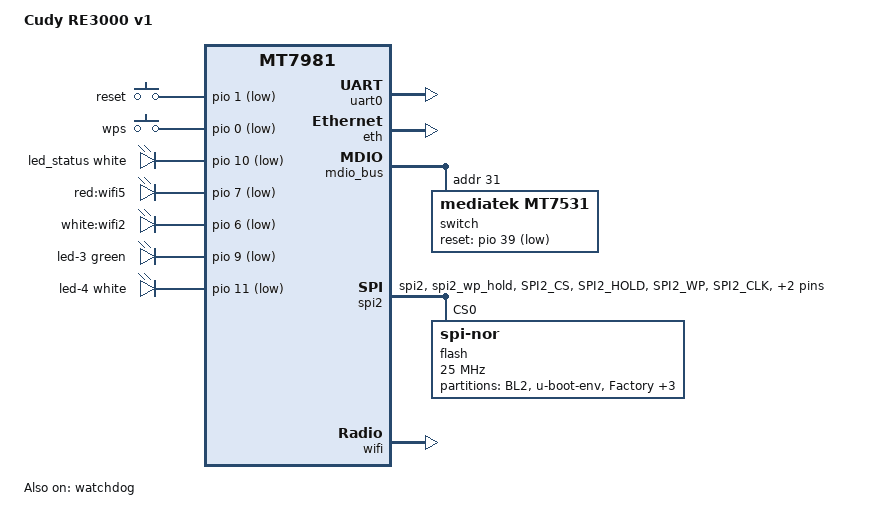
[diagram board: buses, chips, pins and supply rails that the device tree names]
// SPDX-License-Identifier: (GPL-2.0 OR MIT)

/dts-v1/;

#include <dt-bindings/leds/common.h>
#include <dt-bindings/gpio/gpio.h>
#include <dt-bindings/input/input.h>
#include <dt-bindings/pinctrl/mt65xx.h>

#include "mt7981b.dtsi"

/ {
	model = "Cudy RE3000 v1";
	compatible = "cudy,re3000-v1", "mediatek,mt7981";

	aliases {
		serial0 = &uart0;
		label-mac-device = &gmac1;
		led-boot = &led_status;
		led-failsafe = &led_status;
		led-running = &led_status;
		led-upgrade = &led_status;
	};

	chosen {
		stdout-path = "serial0:115200n8";
	};

	gpio-keys {
		compatible = "gpio-keys";

		reset {
			label = "reset";
			linux,code = <KEY_RESTART>;
			gpios = <&pio 1 GPIO_ACTIVE_LOW>;
		};

		wps {
			label = "wps";
			linux,code = <KEY_WPS_BUTTON>;
			gpios = <&pio 0 GPIO_ACTIVE_LOW>;
		};
	};

	leds {
		compatible = "gpio-leds";

		led_status: led-0 {
			function = LED_FUNCTION_STATUS;
			color = <LED_COLOR_ID_WHITE>;
			gpios = <&pio 10 GPIO_ACTIVE_LOW>;
		};

		led-1 {
			label = "red:wifi5";
			gpios = <&pio 7 GPIO_ACTIVE_LOW>;
			linux,default-trigger = "phy1tpt";
		};

		led-2 {
			label = "white:wifi2";
			gpios = <&pio 6 GPIO_ACTIVE_LOW>;
			linux,default-trigger = "phy0tpt";
		};

		led-3 {
			function = LED_FUNCTION_LAN;
			color = <LED_COLOR_ID_GREEN>;
			gpios = <&pio 9 GPIO_ACTIVE_LOW>;
		};

		led-4 {
			function = LED_FUNCTION_WPS;
			color = <LED_COLOR_ID_WHITE>;
			gpios = <&pio 11 GPIO_ACTIVE_LOW>;
		};
	};
};

&uart0 {
	status = "okay";
};

&watchdog {
	status = "okay";
};

&eth {
	pinctrl-names = "default";
	pinctrl-0 = <&mdio_pins>;
	status = "okay";

	gmac1: mac@1 {
		compatible = "mediatek,eth-mac";
		reg = <1>;
		phy-mode = "gmii";
		phy-handle = <&int_gbe_phy>;
		nvmem-cell-names = "mac-address";
		nvmem-cells = <&macaddr_bdinfo_de00 0>;
	};
};

&mdio_bus {
	switch: switch@1f {
		compatible = "mediatek,mt7531";
		reg = <31>;
		reset-gpios = <&pio 39 GPIO_ACTIVE_LOW>;
	};
};

&spi0 {
	status = "disabled";
};

&spi2 {
	pinctrl-names = "default";
	pinctrl-0 = <&spi2_flash_pins>;
	status = "okay";

	flash@0 {
		#address-cells = <1>;
		#size-cells = <1>;

		compatible = "jedec,spi-nor";
		reg = <0>;

		spi-max-frequency = <25000000>;
		spi-tx-bus-width = <4>;
		spi-rx-bus-width = <4>;

		partitions {
			compatible = "fixed-partitions";
			#address-cells = <1>;
			#size-cells = <1>;

			partition@0 {
				label = "BL2";
				reg = <0x00000 0x40000>;
				read-only;
			};

			partition@40000 {
				label = "u-boot-env";
				reg = <0x40000 0x10000>;
				read-only;
			};

			factory: partition@50000 {
				label = "Factory";
				reg = <0x50000 0x10000>;
				read-only;

				nvmem-layout {
					compatible = "fixed-layout";
					#address-cells = <1>;
					#size-cells = <1>;

					eeprom_factory_0: eeprom@0 {
						reg = <0x0 0x1000>;
					};
				};
			};

			bdinfo: partition@60000 {
				label = "bdinfo";
				reg = <0x60000 0x10000>;
				read-only;

				nvmem-layout {
					compatible = "fixed-layout";
					#address-cells = <1>;
					#size-cells = <1>;

					macaddr_bdinfo_de00: macaddr@de00 {
						compatible = "mac-base";
						reg = <0xde00 0x6>;
						#nvmem-cell-cells = <1>;
					};
				};
			};

			partition@70000 {
				label = "FIP";
				reg = <0x70000 0x80000>;
				read-only;
			};

			partition@f0000 {
				compatible = "denx,fit";
				label = "firmware";
				reg = <0xf0000 0xf10000>;
			};
		};
	};
};

&pio {
	spi2_flash_pins: spi2-pins {
		mux {
			function = "spi";
			groups = "spi2", "spi2_wp_hold";
		};

		conf-pu {
			pins = "SPI2_CS", "SPI2_HOLD", "SPI2_WP";
			drive-strength = <MTK_DRIVE_8mA>;
			bias-pull-up = <MTK_PUPD_SET_R1R0_11>;
		};

		conf-pd {
			pins = "SPI2_CLK", "SPI2_MOSI", "SPI2_MISO";
			drive-strength = <MTK_DRIVE_8mA>;
			bias-pull-down = <MTK_PUPD_SET_R1R0_11>;
		};
	};
};

&wifi {
	status = "okay";
	nvmem-cells = <&eeprom_factory_0>;
	nvmem-cell-names = "eeprom";
};
